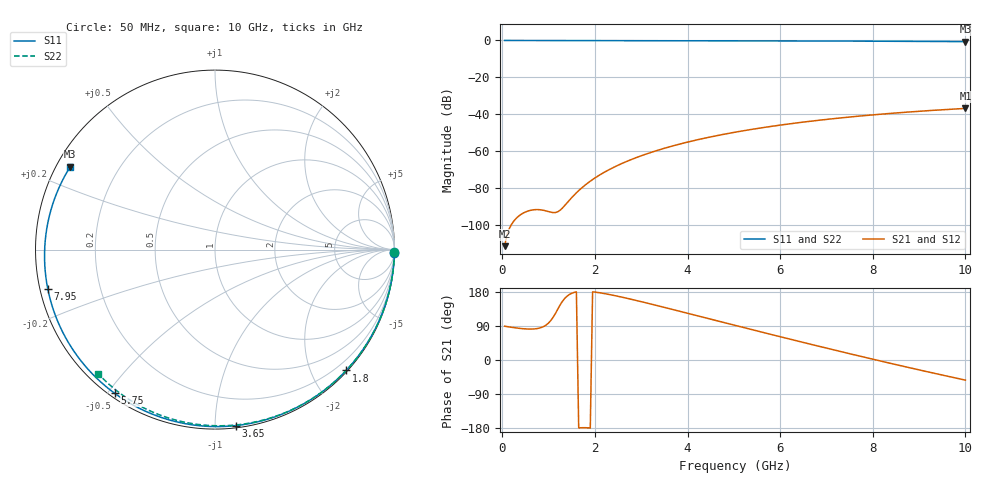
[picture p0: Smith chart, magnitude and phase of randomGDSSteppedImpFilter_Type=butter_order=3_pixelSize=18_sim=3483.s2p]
! freq	dB(S11)	phase(S11)	dB(S12)	phase(S12)
!  dB(S21)	phase(S21)	dB(S22)	phase(S22)
!S-par simulation data
#  GHz  S  DB  R 50
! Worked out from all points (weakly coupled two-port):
!   200 points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, 50 MHz to 10 GHz, reference 50 ohm
!   highest |S21| = -36.75 dB at 10 GHz (marker M1); lowest = -111.2 dB at 50 MHz (marker M2)
!   lowest |S11| = -0.6 dB at 10 GHz (marker M3), VSWR 27.40, Z = 1.95 + j13.3 ohm
!   |S11| at or under -10 dB: nowhere
!   |S22| runs from -0.4 to 0.0 dB; largest |S21 - S12| = 0
!   S11 on the Smith chart (normalised r, x): 50 MHz: 0, -94; 1.8 GHz: 0.02, -2.56; 3.65 GHz: 0.01, -1.13; 5.75 GHz: 0.02, -0.52; 7.95 GHz: 0.02, -0.11; 10 GHz: 0.04, +0.27
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0.05  -0.00 -1.2  -111.23 89.3  -111.23 89.3  -0.00 -0.8
0.45  -0.01 -10.8  -93.36 82.5  -93.36 82.5  -0.01 -6.9
0.85  -0.03 -20.4  -91.66 86.1  -91.66 86.1  -0.02 -13.0
1.25  -0.04 -29.9  -91.77 145.6  -91.77 145.6  -0.02 -19.0
1.7  -0.05 -40.3  -80.05 -178.7  -80.05 -178.7  -0.03 -25.8
1.75  -0.05 -41.5  -78.98 -178.6  -78.98 -178.6  -0.03 -26.5
1.8  -0.05 -42.6  -77.97 -178.6  -77.97 -178.6  -0.03 -27.3
2.1  -0.06 -49.5  -72.77 177.5  -72.77 177.5  -0.04 -31.7
2.45  -0.07 -57.3  -68.06 169.4  -68.06 169.4  -0.05 -36.8
2.9  -0.09 -67.2  -63.27 156.9  -63.27 156.9  -0.06 -43.3
3.4  -0.10 -77.9  -59.04 141.9  -59.04 141.9  -0.07 -50.5
3.65  -0.11 -83.2  -57.23 134.2  -57.23 134.2  -0.07 -54.0
4.35  -0.14 -97.5  -52.94 112.5  -52.94 112.5  -0.09 -63.7
5.05  -0.17 -111.4  -49.50 90.7  -49.50 90.7  -0.11 -73.1
5.75  -0.21 -124.9  -46.67 69.1  -46.67 69.1  -0.14 -82.2
6.7  -0.27 -143.0  -43.54 40.3  -43.54 40.3  -0.18 -94.2
7.35  -0.33 -155.3  -41.77 21.0  -41.77 21.0  -0.22 -102.1
7.95  -0.38 -166.9  -40.35 3.6  -40.35 3.6  -0.26 -109.3
8.35  -0.42 -174.8  -39.50 -7.9  -39.50 -7.9  -0.29 -114.1
8.8  -0.48 176.1  -38.65 -20.6  -38.65 -20.6  -0.33 -119.3
9.2  -0.53 167.8  -37.95 -31.6  -37.95 -31.6  -0.37 -124.0
10  -0.63 150.2  -36.75 -53.1  -36.75 -53.1  -0.45 -133.3
